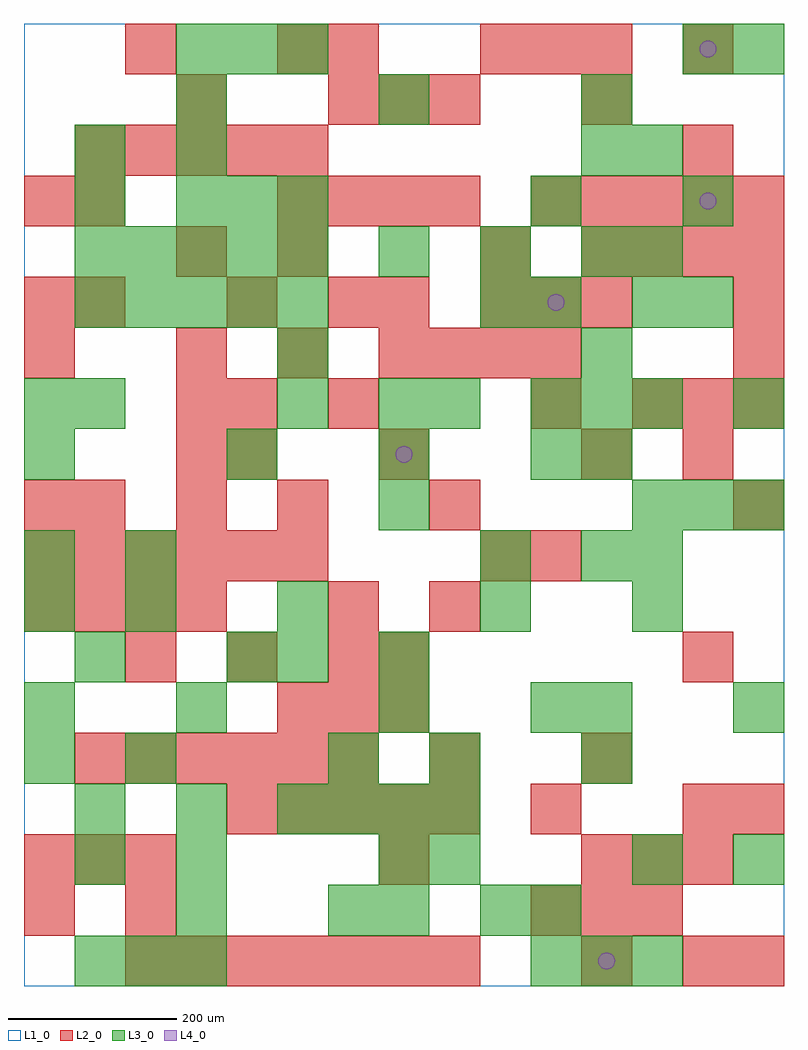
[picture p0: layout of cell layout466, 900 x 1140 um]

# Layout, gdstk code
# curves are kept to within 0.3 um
import gdstk
lib = gdstk.Library(unit=1e-6, precision=1e-09)
def R(c, l, rs):  # rectangles x0, y0, x1, y1
    for r in rs: c.add(gdstk.rectangle(r[:2], r[2:], *l))
def A(c, l, x, y, w, h, nx, ny, dx, dy):  # array of equal rectangles
    R(c, l, [(x+i*dx, y+j*dy, x+i*dx+w, y+j*dy+h) for i in range(nx) for j in range(ny)])
def P(c, l, *ps):  # polygons
    for p in ps: c.add(gdstk.Polygon(p, *l))
L1_0 = (1, 0)
L2_0 = (2, 0)
L3_0 = (3, 0)
L4_0 = (4, 0)

layout466 = lib.new_cell('layout466')
R(layout466, L1_0, [(0,0,900,1140)])
A(layout466, L2_0, 120, 0, 60, 60, 7, 1, 60, 0)
A(layout466, L2_0, 780, 0, 60, 60, 1, 3, 0, 180)
A(layout466, L2_0, 600, 60, 60, 60, 3, 1, 60, 0)
A(layout466, L2_0, 0, 120, 60, 60, 3, 1, 60, 0)
A(layout466, L2_0, 420, 120, 60, 60, 1, 3, 0, 240)
A(layout466, L2_0, 660, 120, 60, 60, 3, 1, 60, 0)
A(layout466, L2_0, 240, 180, 60, 60, 5, 1, 60, 0)
A(layout466, L2_0, 60, 240, 60, 60, 6, 1, 60, 0)
A(layout466, L2_0, 300, 300, 60, 60, 3, 1, 60, 0)
A(layout466, L2_0, 120, 360, 60, 60, 3, 1, 120, 0)
A(layout466, L2_0, 0, 420, 60, 60, 4, 1, 60, 0)
A(layout466, L2_0, 0, 480, 60, 60, 6, 1, 60, 0)
A(layout466, L2_0, 60, 540, 60, 60, 3, 1, 120, 0)
A(layout466, L2_0, 180, 660, 60, 60, 1, 3, 0, 180)
A(layout466, L2_0, 720, 660, 60, 60, 3, 1, 60, 0)
A(layout466, L2_0, 180, 720, 60, 60, 3, 1, 120, 0)
A(layout466, L2_0, 480, 720, 60, 60, 3, 1, 60, 0)
A(layout466, L2_0, 540, 780, 60, 60, 3, 2, 60, 300)
A(layout466, L2_0, 660, 840, 60, 60, 4, 1, 60, 0)
A(layout466, L2_0, 300, 900, 60, 60, 4, 1, 60, 0)
A(layout466, L2_0, 600, 900, 60, 60, 5, 1, 60, 0)
A(layout466, L2_0, 60, 960, 60, 60, 5, 1, 60, 0)
A(layout466, L2_0, 360, 1020, 60, 60, 3, 1, 60, 0)
R(layout466, L2_0, [(660,0,720,60), (840,0,900,60), (0,60,60,120), (120,60,180,120), (600,180,660,240), (840,180,900,240), (480,240,540,300), (660,240,720,300), (360,420,420,480), (480,420,540,480), (540,480,600,540), (600,480,660,540), (0,540,60,600), (480,540,540,600), (840,540,900,600), (180,600,240,660), (240,600,300,660), (660,600,720,660), (780,600,840,660), (240,660,300,720), (360,660,420,720), (600,660,660,720), (0,720,60,780), (840,720,900,780), (0,780,60,840), (60,780,120,840), (240,780,300,840), (360,780,420,840), (420,780,480,840), (840,780,900,840), (300,840,360,900), (540,840,600,900), (0,900,60,960), (60,900,120,960), (780,960,840,1020), (660,1020,720,1080), (120,1080,180,1140), (300,1080,360,1140), (360,1080,420,1140), (780,1080,840,1140)])
A(layout466, L3_0, 60, 0, 60, 60, 3, 1, 60, 0)
A(layout466, L3_0, 600, 0, 60, 60, 3, 2, 60, 660)
A(layout466, L3_0, 60, 180, 60, 60, 3, 1, 120, 0)
A(layout466, L3_0, 360, 180, 60, 60, 3, 1, 60, 0)
A(layout466, L3_0, 660, 480, 60, 60, 1, 3, 0, 120)
A(layout466, L3_0, 720, 540, 60, 60, 3, 1, 60, 0)
A(layout466, L3_0, 240, 600, 60, 60, 3, 1, 180, 0)
A(layout466, L3_0, 60, 780, 60, 60, 5, 2, 60, 60)
A(layout466, L3_0, 420, 840, 60, 60, 3, 1, 120, 0)
A(layout466, L3_0, 180, 900, 60, 60, 3, 2, 60, 180)
A(layout466, L3_0, 180, 1020, 60, 60, 3, 1, 240, 0)
R(layout466, L3_0, [(180,60,240,120), (360,60,420,120), (420,60,480,120), (540,60,600,120), (600,60,660,120), (60,120,120,180), (180,120,240,180), (420,120,480,180), (480,120,540,180), (720,120,780,180), (840,120,900,180), (0,240,60,300), (120,240,180,300), (360,240,420,300), (480,240,540,300), (660,240,720,300), (0,300,60,360), (180,300,240,360), (420,300,480,360), (600,300,660,360), (660,300,720,360), (840,300,900,360), (60,360,120,420), (240,360,300,420), (300,360,360,420), (420,360,480,420), (0,420,60,480), (120,420,180,480), (300,420,360,480), (540,420,600,480), (720,420,780,480), (0,480,60,540), (120,480,180,540), (540,480,600,540), (720,480,780,540), (420,540,480,600), (0,600,60,660), (0,660,60,720), (60,660,120,720), (300,660,360,720), (420,660,480,720), (480,660,540,720), (840,660,900,720), (300,720,360,780), (540,780,600,840), (600,780,660,840), (720,780,780,840), (780,780,840,840), (720,840,780,900), (60,900,120,960), (600,900,660,960), (780,900,840,960), (60,960,120,1020), (180,960,240,1020), (660,960,720,1020), (720,960,780,1020), (780,1080,840,1140), (840,1080,900,1140)])
P(layout466, L4_0, [(460,630),(459.239,633.827),(457.071,637.071),(453.827,639.239),(450,640),(446.173,639.239),(442.929,637.071),(440.761,633.827),(440,630),(440.761,626.173),(442.929,622.929),(446.173,620.761),(450,620),(453.827,620.761),(457.071,622.929),(459.239,626.173)],
  [(640,810),(639.239,813.827),(637.071,817.071),(633.827,819.239),(630,820),(626.173,819.239),(622.929,817.071),(620.761,813.827),(620,810),(620.761,806.173),(622.929,802.929),(626.173,800.761),(630,800),(633.827,800.761),(637.071,802.929),(639.239,806.173)],
  [(700,30),(699.239,33.827),(697.071,37.071),(693.827,39.239),(690,40),(686.173,39.239),(682.929,37.071),(680.761,33.827),(680,30),(680.761,26.173),(682.929,22.929),(686.173,20.761),(690,20),(693.827,20.761),(697.071,22.929),(699.239,26.173)],
  [(820,930),(819.239,933.827),(817.071,937.071),(813.827,939.239),(810,940),(806.173,939.239),(802.929,937.071),(800.761,933.827),(800,930),(800.761,926.173),(802.929,922.929),(806.173,920.761),(810,920),(813.827,920.761),(817.071,922.929),(819.239,926.173)],
  [(820,1110),(819.239,1113.827),(817.071,1117.071),(813.827,1119.239),(810,1120),(806.173,1119.239),(802.929,1117.071),(800.761,1113.827),(800,1110),(800.761,1106.173),(802.929,1102.929),(806.173,1100.761),(810,1100),(813.827,1100.761),(817.071,1102.929),(819.239,1106.173)])

lib.write_gds('layout466.gds')
